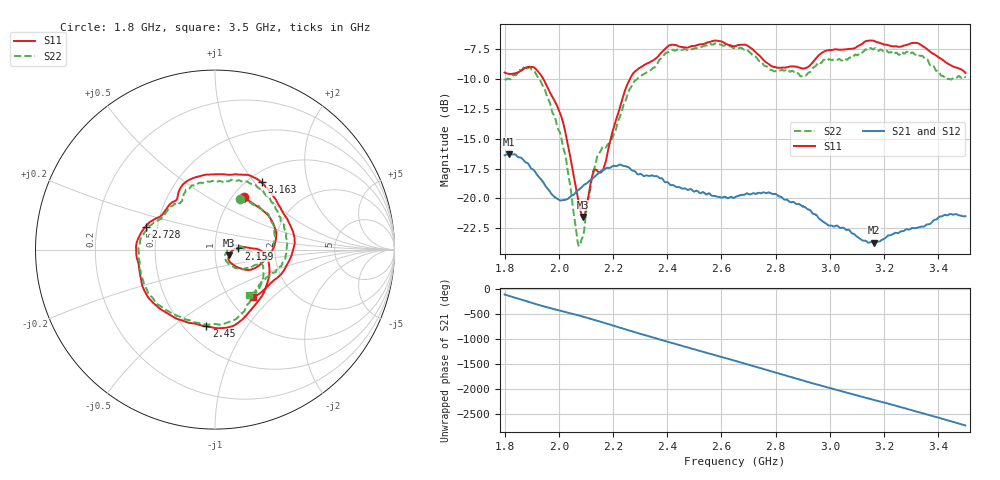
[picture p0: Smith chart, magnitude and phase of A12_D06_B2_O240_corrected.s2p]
! Created with skrf 1.9.0 (http://scikit-rf.org).
# Hz S RI R 50.0
!freq ReS11 ImS11 ReS21 ImS21 ReS12 ImS12 ReS22 ImS22
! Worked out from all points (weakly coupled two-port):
!   1601 points, 1.8 GHz to 3.5 GHz, reference 50 ohm
!   highest |S21| = -16.30 dB at 1.815 GHz (marker M1); lowest = -23.7 dB at 3.163 GHz (marker M2)
!   lowest |S11| = -21.5 dB at 2.09 GHz (marker M3), VSWR 1.18, Z = 58.3 - j3.73 ohm
!   |S11| at or under -10 dB: 1.943 GHz to 2.262 GHz (319.5 MHz wide, 15.2 % of centre)
!   |S22| runs from -24.0 to -7.0 dB; largest |S21 - S12| = 0.0025
!   S11 on the Smith chart (normalised r, x): 1.8 GHz: 1.13, +0.75; 2.159 GHz: 1.30, +0.02; 2.45 GHz: 0.63, -0.67; 2.728 GHz: 0.43, +0.13; 3.163 GHz: 1.15, +1.09; 3.5 GHz: 1.28, -0.75
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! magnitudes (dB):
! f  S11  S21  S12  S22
! 1.8 GHz  -9.5  -16.4  -16.4  -10.0
! 1.815 GHz  -9.6  -16.3  -16.3  -10.0
! 1.881 GHz  -9.0  -17.0  -17.0  -9.1
! 1.942 GHz  -10.0  -18.6  -18.6  -10.6
! 2.014 GHz  -13.5  -20.1  -20.1  -15.5
! 2.068 GHz  -19.7  -19.4  -19.4  -23.3
! 2.084 GHz  -21.3  -19.1  -19.0  -23.4
! 2.09 GHz  -21.5  -18.9  -19.0  -23.1
! 2.128 GHz  -17.8  -18.3  -18.3  -17.6
! 2.159 GHz  -17.8  -17.7  -17.6  -15.8
! 2.197 GHz  -14.5  -17.3  -17.3  -14.9
! 2.26 GHz  -10.1  -17.4  -17.5  -10.9
! 2.367 GHz  -8.1  -18.2  -18.2  -8.5
! 2.45 GHz  -7.3  -19.1  -19.1  -7.6
! 2.65 GHz  -7.3  -19.9  -19.9  -7.4
! 2.728 GHz  -7.8  -19.6  -19.6  -8.2
! 2.801 GHz  -9.0  -19.6  -19.6  -9.3
! 2.934 GHz  -8.7  -21.2  -21.1  -9.2
! 3.163 GHz  -6.8  -23.7  -23.7  -7.5
! 3.217 GHz  -7.2  -23.1  -23.1  -7.8
! 3.326 GHz  -7.0  -22.4  -22.4  -7.9
! 3.5 GHz  -9.5  -21.5  -21.5  -9.9
